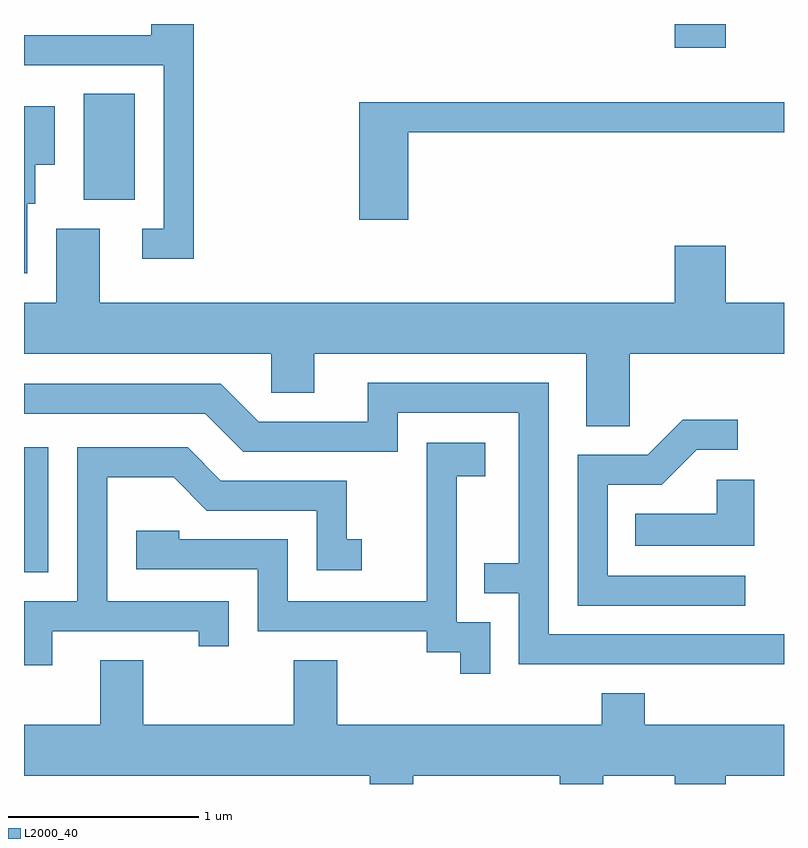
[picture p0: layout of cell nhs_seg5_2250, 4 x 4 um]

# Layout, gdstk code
import gdstk
lib = gdstk.Library(unit=1e-6, precision=1e-09)
def R(c, l, rs):  # rectangles x0, y0, x1, y1
    for r in rs: c.add(gdstk.rectangle(r[:2], r[2:], *l))
def P(c, l, *ps):  # polygons
    for p in ps: c.add(gdstk.Polygon(p, *l))
L2000_40 = (2000, 40)

nhs_seg5_2250 = lib.new_cell('nhs_seg5_2250')
R(nhs_seg5_2250, L2000_40, [(251.611,1471.186,251.739,1471.844), (251.926,1473.146,252.194,1473.704), (255.036,1473.946,255.304,1474.072)])
P(nhs_seg5_2250, L2000_40, [(252.504,1474.072),(252.281,1474.072),(252.281,1474.014),(251.611,1474.014),(251.611,1473.856),(252.346,1473.856),(252.346,1472.994),(252.233,1472.994),(252.233,1472.836),(252.504,1472.836)],
  [(253.634,1473.501),(255.611,1473.501),(255.611,1473.659),(253.376,1473.659),(253.376,1473.041),(253.634,1473.041)],
  [(251.629,1473.126),(251.669,1473.126),(251.669,1473.331),(251.774,1473.331),(251.774,1473.639),(251.611,1473.639),(251.611,1472.761),(251.629,1472.761)],
  [(254.799,1472.336),(255.611,1472.336),(255.611,1472.604),(255.304,1472.604),(255.304,1472.904),(255.036,1472.904),(255.036,1472.604),(252.009,1472.604),(252.009,1472.994),(251.781,1472.994),(251.781,1472.604),(251.611,1472.604),(251.611,1472.336),(252.911,1472.336),(252.911,1472.131),(253.139,1472.131),(253.139,1472.336),(254.571,1472.336),(254.571,1471.956),(254.799,1471.956)],
  [(255.611,1470.859),(254.374,1470.859),(254.374,1472.184),(253.421,1472.184),(253.421,1471.979),(252.847,1471.979),(252.647,1472.179),(251.611,1472.179),(251.611,1472.021),(252.564,1472.021),(252.764,1471.821),(253.579,1471.821),(253.579,1472.026),(254.216,1472.026),(254.216,1471.234),(254.033,1471.234),(254.033,1471.076),(254.216,1471.076),(254.216,1470.701),(255.611,1470.701)],
  [(255.408,1471.169),(254.684,1471.169),(254.684,1471.646),(254.967,1471.646),(255.152,1471.831),(255.368,1471.831),(255.368,1471.989),(255.079,1471.989),(254.894,1471.804),(254.526,1471.804),(254.526,1471.011),(255.408,1471.011)],
  [(254.064,1470.924),(253.889,1470.924),(253.889,1471.691),(254.039,1471.691),(254.039,1471.869),(253.731,1471.869),(253.731,1471.034),(252.999,1471.034),(252.999,1471.359),(252.429,1471.359),(252.429,1471.404),(252.201,1471.404),(252.201,1471.201),(252.841,1471.201),(252.841,1470.876),(253.731,1470.876),(253.731,1470.766),(253.906,1470.766),(253.906,1470.653),(254.064,1470.653)],
  [(251.759,1470.876),(252.531,1470.876),(252.531,1470.798),(252.689,1470.798),(252.689,1471.034),(252.049,1471.034),(252.049,1471.686),(252.399,1471.686),(252.574,1471.511),(253.151,1471.511),(253.151,1471.196),(253.388,1471.196),(253.388,1471.359),(253.309,1471.359),(253.309,1471.669),(252.647,1471.669),(252.472,1471.844),(251.891,1471.844),(251.891,1471.034),(251.611,1471.034),(251.611,1470.698),(251.759,1470.698)],
  [(255.454,1471.674),(255.256,1471.674),(255.256,1471.494),(254.828,1471.494),(254.828,1471.326),(255.454,1471.326)],
  [(253.031,1470.724),(253.031,1470.384),(252.239,1470.384),(252.239,1470.724),(252.011,1470.724),(252.011,1470.384),(251.611,1470.384),(251.611,1470.116),(253.431,1470.116),(253.431,1470.072),(253.659,1470.072),(253.659,1470.116),(254.431,1470.116),(254.431,1470.072),(254.659,1470.072),(254.659,1470.116),(255.036,1470.116),(255.036,1470.072),(255.304,1470.072),(255.304,1470.116),(255.611,1470.116),(255.611,1470.384),(254.879,1470.384),(254.879,1470.549),(254.651,1470.549),(254.651,1470.384),(253.259,1470.384),(253.259,1470.724)])

lib.write_gds('nhs_seg5_2250.gds')
